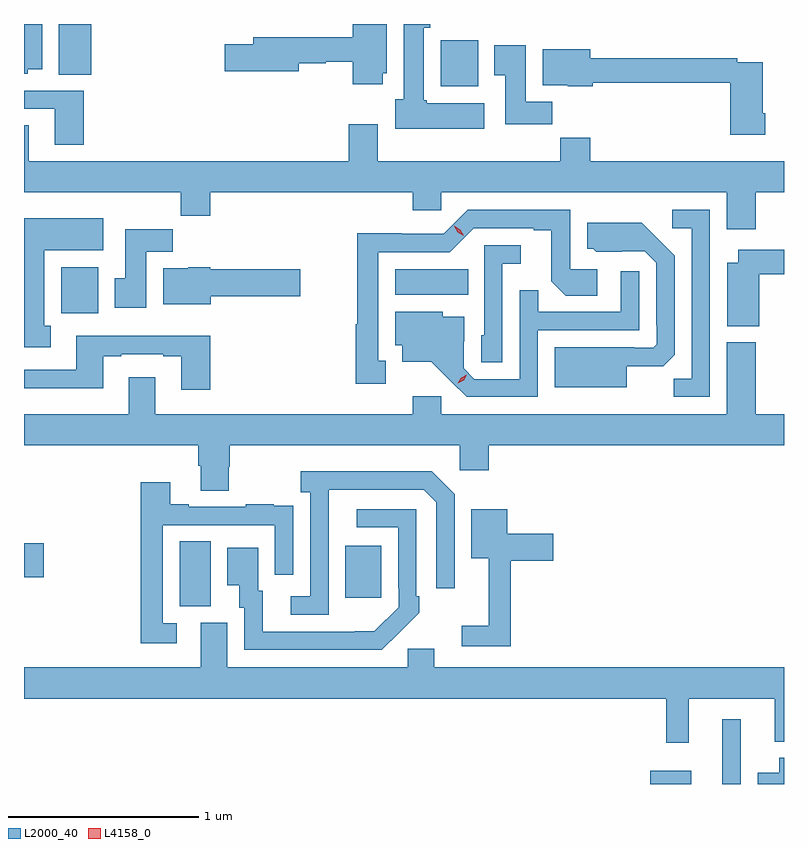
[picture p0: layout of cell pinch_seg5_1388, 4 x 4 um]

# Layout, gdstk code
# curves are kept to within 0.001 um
import gdstk
lib = gdstk.Library(unit=1e-6, precision=1e-09)
def R(c, l, rs):  # rectangles x0, y0, x1, y1
    for r in rs: c.add(gdstk.rectangle(r[:2], r[2:], *l))
def P(c, l, *ps):  # polygons
    for p in ps: c.add(gdstk.Polygon(p, *l))
L2000_40 = (2000, 40)
L4158_0 = (4158, 0)

pinch_seg5_1388 = lib.new_cell('pinch_seg5_1388')
R(pinch_seg5_1388, L2000_40, [(160.694,909.59,160.909,909.661), (161.072,909.59,161.169,909.931), (158.216,910.525,158.38,910.868), (159.089,910.569,159.277,910.843), (157.397,910.678,157.501,910.856), (157.592,912.068,157.789,912.31), (159.35,912.164,159.734,912.298), (159.59,913.262,159.787,913.504), (157.58,913.324,157.751,913.59)])
P(pinch_seg5_1388, L2000_40, [(157.416,913.352),(157.492,913.352),(157.492,913.59),(157.397,913.59),(157.397,913.328),(157.416,913.328)],
  [(159.82,913.174),(159.516,913.174),(159.516,913.188),(159.502,913.188),(159.502,913.571),(159.535,913.571),(159.535,913.59),(159.395,913.59),(159.395,913.194),(159.35,913.194),(159.35,913.04),(159.82,913.04)],
  [(159.286,913.332),(159.307,913.332),(159.307,913.59),(159.128,913.59),(159.128,913.52),(158.603,913.52),(158.603,913.484),(158.454,913.484),(158.454,913.342),(158.842,913.342),(158.842,913.384),(158.985,913.384),(158.985,913.392),(159.128,913.392),(159.128,913.272),(159.286,913.272)],
  [(160.178,913.18),(160.039,913.18),(160.039,913.477),(159.872,913.477),(159.872,913.321),(159.929,913.321),(159.929,913.062),(160.178,913.062)],
  [(161.297,913.12),(161.284,913.12),(161.284,913.389),(161.15,913.389),(161.15,913.409),(160.378,913.409),(160.378,913.456),(160.127,913.456),(160.127,913.268),(160.26,913.268),(160.26,913.262),(160.391,913.262),(160.391,913.281),(161.114,913.281),(161.114,913.008),(161.297,913.008)],
  [(157.712,913.239),(157.397,913.239),(157.397,913.143),(157.559,913.143),(157.559,912.954),(157.712,912.954)],
  [(161.249,912.704),(161.397,912.704),(161.397,912.868),(160.376,912.868),(160.376,912.992),(160.219,912.992),(160.219,912.868),(159.259,912.868),(159.259,913.063),(159.107,913.063),(159.107,912.868),(157.423,912.868),(157.423,913.058),(157.397,913.058),(157.397,912.704),(158.221,912.704),(158.221,912.58),(158.378,912.58),(158.378,912.704),(159.443,912.704),(159.443,912.611),(159.594,912.611),(159.594,912.704),(161.096,912.704),(161.096,912.51),(161.249,912.51)],
  [(161.007,912.612),(160.809,912.612),(160.809,912.516),(160.911,912.516),(160.911,911.723),(160.816,911.723),(160.816,911.628),(161.007,911.628)],
  [(159.301,911.817),(159.262,911.817),(159.262,912.39),(159.639,912.39),(159.765,912.516),(160.079,912.516),(160.079,912.504),(160.173,912.504),(160.173,912.236),(160.249,912.16),(160.414,912.16),(160.414,912.3),(160.272,912.3),(160.272,912.612),(159.732,912.612),(159.606,912.486),(159.384,912.486),(159.384,912.488),(159.151,912.488),(159.151,912.009),(159.144,912.009),(159.144,911.697),(159.301,911.697)],
  [(157.537,912.002),(157.504,912.002),(157.504,912.398),(157.813,912.398),(157.813,912.568),(157.397,912.568),(157.397,911.889),(157.537,911.889)],
  [(160.57,911.789),(160.762,911.789),(160.821,911.848),(160.821,912.37),(160.649,912.544),(160.361,912.544),(160.361,912.408),(160.392,912.408),(160.408,912.392),(160.665,912.393),(160.725,912.333),(160.725,912.004),(160.728,912.004),(160.728,911.904),(160.71,911.886),(160.61,911.886),(160.61,911.89),(160.19,911.89),(160.19,911.678),(160.57,911.678)],
  [(158.041,912.392),(158.18,912.392),(158.18,912.51),(157.931,912.51),(157.931,912.252),(157.874,912.252),(157.874,912.096),(158.041,912.096)],
  [(159.915,912.329),(160.012,912.329),(160.012,912.426),(159.819,912.426),(159.819,911.952),(159.804,911.952),(159.804,911.809),(159.915,911.809)],
  [(161.266,912.274),(161.397,912.274),(161.397,912.403),(161.156,912.403),(161.156,912.334),(161.099,912.334),(161.099,911.999),(161.266,911.999)],
  [(158.38,912.158),(158.851,912.158),(158.851,912.3),(158.376,912.3),(158.376,912.31),(158.262,912.31),(158.262,912.304),(158.129,912.304),(158.129,912.116),(158.38,912.116)],
  [(160.101,911.979),(160.635,911.979),(160.635,912.289),(160.539,912.289),(160.539,912.075),(160.103,912.075),(160.103,912.188),(160.005,912.188),(160.005,911.721),(159.768,911.721),(159.711,911.778),(159.711,911.92),(159.715,911.92),(159.715,912.049),(159.6,912.049),(159.6,912.076),(159.35,912.076),(159.35,911.9),(159.389,911.9),(159.389,911.813),(159.541,911.813),(159.728,911.628),(160.101,911.628)],
  [(158.378,911.95),(157.673,911.95),(157.673,911.769),(157.397,911.769),(157.397,911.672),(157.813,911.672),(157.813,911.841),(157.909,911.841),(157.909,911.853),(158.129,911.853),(158.129,911.841),(158.225,911.841),(158.225,911.664),(158.378,911.664)],
  [(158.475,911.259),(158.48,911.259),(158.48,911.372),(159.69,911.372),(159.69,911.241),(159.842,911.241),(159.842,911.372),(161.397,911.372),(161.397,911.536),(161.249,911.536),(161.249,911.914),(161.096,911.914),(161.096,911.536),(159.594,911.536),(159.594,911.632),(159.443,911.632),(159.443,911.536),(158.089,911.536),(158.089,911.731),(157.949,911.731),(157.949,911.536),(157.397,911.536),(157.397,911.372),(158.315,911.372),(158.315,911.266),(158.327,911.266),(158.327,911.134),(158.475,911.134)],
  [(159,910.939),(159.001,911.139),(159.501,911.139),(159.567,911.073),(159.567,910.62),(159.663,910.62),(159.663,911.115),(159.542,911.236),(158.853,911.236),(158.853,911.126),(158.904,911.126),(158.904,910.578),(158.802,910.578),(158.802,910.482),(159,910.482)],
  [(158.2,910.437),(158.127,910.437),(158.127,910.953),(158.718,910.953),(158.718,910.692),(158.814,910.692),(158.814,910.946),(158.813,910.946),(158.813,911.055),(158.711,911.055),(158.711,911.062),(158.563,911.062),(158.563,911.049),(158.263,911.049),(158.263,911.062),(158.167,911.062),(158.167,911.179),(158.011,911.179),(158.011,910.332),(158.2,910.332)],
  [(159.371,910.387),(159.372,910.386),(159.477,910.491),(159.477,910.579),(159.462,910.579),(159.462,911.037),(159.147,911.037),(159.147,910.941),(159.366,910.941),(159.366,910.621),(159.369,910.621),(159.369,910.521),(159.241,910.393),(158.653,910.392),(158.653,910.608),(158.629,910.608),(158.629,910.834),(158.468,910.834),(158.468,910.637),(158.531,910.637),(158.531,910.518),(158.556,910.518),(158.556,910.296),(159.28,910.296)],
  [(159.959,910.766),(160.183,910.766),(160.183,910.908),(159.94,910.908),(159.94,911.035),(159.752,911.035),(159.752,910.778),(159.842,910.778),(159.842,910.423),(159.702,910.423),(159.702,910.314),(159.959,910.314)],
  [(160.895,910.04),(161.348,910.04),(161.348,909.812),(161.397,909.812),(161.397,910.204),(159.556,910.204),(159.556,910.302),(159.417,910.302),(159.417,910.204),(158.467,910.204),(158.467,910.44),(158.327,910.44),(158.327,910.204),(157.397,910.204),(157.397,910.04),(160.777,910.04),(160.777,909.807),(160.895,909.807)],
  [(161.397,909.727),(161.372,909.727),(161.372,909.649),(161.258,909.649),(161.258,909.59),(161.397,909.59)])
P(pinch_seg5_1388, L4158_0, [(159.68,911.7),(159.68,911.7),(159.697,911.729),(159.728,911.744),(159.728,911.744),(159.728,911.744),(159.711,911.715),(159.68,911.7)],
  [(159.711,912.475),(159.679,912.494),(159.661,912.526),(159.661,912.527),(159.661,912.527),(159.693,912.508),(159.711,912.475),(159.711,912.475)])

lib.write_gds('pinch_seg5_1388.gds')
